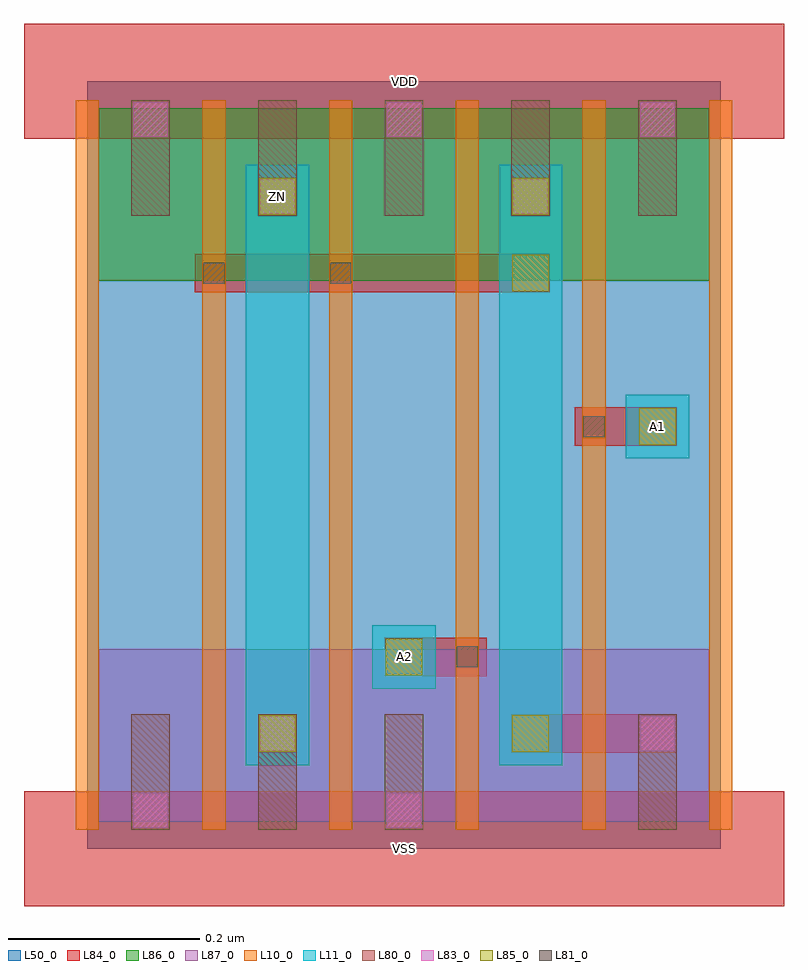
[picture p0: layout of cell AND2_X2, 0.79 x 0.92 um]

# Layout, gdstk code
import gdstk
lib = gdstk.Library(unit=1e-6, precision=1e-09)
def R(c, l, rs):  # rectangles x0, y0, x1, y1
    for r in rs: c.add(gdstk.rectangle(r[:2], r[2:], *l))
def A(c, l, x, y, w, h, nx, ny, dx, dy):  # array of equal rectangles
    R(c, l, [(x+i*dx, y+j*dy, x+i*dx+w, y+j*dy+h) for i in range(nx) for j in range(ny)])
L10_0 = (10, 0)
L11_0 = (11, 0)
L50_0 = (50, 0)
L80_0 = (80, 0)
L81_0 = (81, 0)
L83_0 = (83, 0)
L84_0 = (84, 0)
L85_0 = (85, 0)
L86_0 = (86, 0)
L87_0 = (87, 0)

and2_x2 = lib.new_cell('AND2_X2')
A(and2_x2, L10_0, -0.012, 0.02, 0.024, 0.76, 6, 1, 0.132, 0)
R(and2_x2, L11_0, [(0.165,0.087,0.231,0.713), (0.429,0.087,0.495,0.713), (0.297,0.167,0.363,0.233), (0.561,0.407,0.627,0.473)])
R(and2_x2, L50_0, [(0,0,0.66,0.8)])
A(and2_x2, L80_0, 0.046, 0.02, 0.04, 0.12, 3, 1, 0.132, 0)
A(and2_x2, L80_0, 0.046, 0.66, 0.04, 0.12, 5, 1, 0.132, 0)
R(and2_x2, L80_0, [(0.574,0.02,0.614,0.14)])
R(and2_x2, L81_0, [(0.385,0.189,0.407,0.211), (0.517,0.429,0.539,0.451), (0.121,0.589,0.143,0.611), (0.253,0.589,0.275,0.611)])
A(and2_x2, L83_0, 0.048, 0.742, 0.036, 0.036, 3, 1, 0.264, 0)
R(and2_x2, L83_0, [(0.048,0.022,0.084,0.058), (0.312,0.022,0.348,0.058), (0.18,0.102,0.216,0.138), (0.576,0.102,0.612,0.138), (0.18,0.662,0.216,0.698), (0.444,0.662,0.48,0.698)])
R(and2_x2, L84_0, [(-0.066,-0.06,0.726,0.06), (0.178,0.1,0.218,0.14), (0.442,0.1,0.614,0.14), (0.31,0.18,0.416,0.22), (0.508,0.42,0.614,0.46), (0.112,0.58,0.482,0.62), (0.178,0.66,0.218,0.7), (0.442,0.66,0.482,0.7), (-0.066,0.74,0.726,0.86)])
R(and2_x2, L85_0, [(0.179,0.101,0.217,0.139), (0.443,0.101,0.481,0.139), (0.311,0.181,0.349,0.219), (0.575,0.421,0.613,0.459), (0.443,0.581,0.481,0.619), (0.179,0.661,0.217,0.699), (0.443,0.661,0.481,0.699)])
R(and2_x2, L86_0, [(0.012,0.592,0.648,0.772)])
R(and2_x2, L87_0, [(0.012,0.028,0.648,0.208)])
and2_x2.add(gdstk.Label('VDD', (0.33,0.8), layer=88, texttype=0))
and2_x2.add(gdstk.Label('VSS', (0.33,0), layer=88, texttype=0))
and2_x2.add(gdstk.Label('ZN', (0.198,0.68), layer=31, texttype=0))
and2_x2.add(gdstk.Label('A2', (0.33,0.2), layer=31, texttype=0))
and2_x2.add(gdstk.Label('A1', (0.594,0.44), layer=31, texttype=0))

lib.write_gds('AND2_X2.gds')
